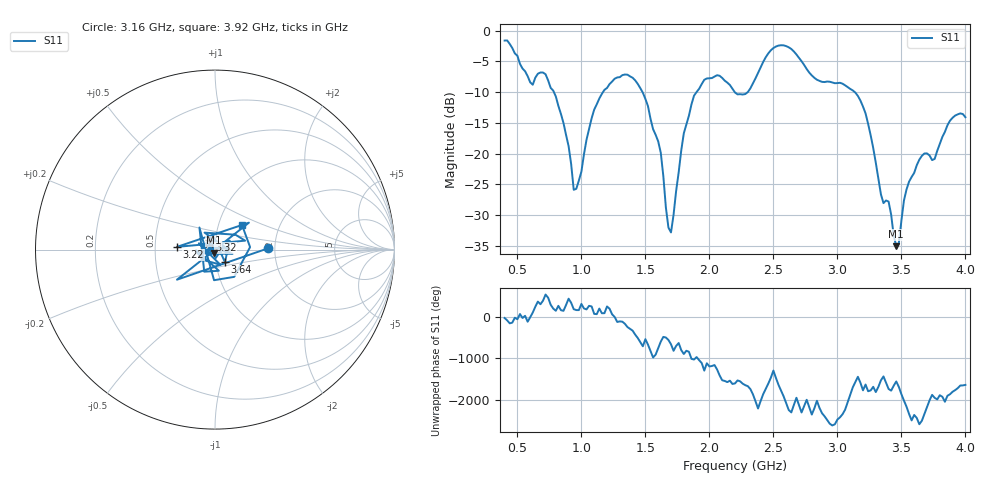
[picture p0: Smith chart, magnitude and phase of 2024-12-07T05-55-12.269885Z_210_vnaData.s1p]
!Created with skrf (http://scikit-rf.org).
# Hz S RI R 50.0
!freq ReS11 ImS11
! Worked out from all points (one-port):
!   181 points, 400 MHz to 4 GHz, reference 50 ohm
!   lowest |S11| = -35.0 dB at 3.46 GHz (marker M1), VSWR 1.04, Z = 49.4 - j1.64 ohm
!   |S11| at or under -10 dB: 785.5 MHz to 1.168 GHz (382.6 MHz wide, 39.2 % of centre); 1.478 GHz to 1.899 GHz (421 MHz wide, 24.9 % of centre); 3.137 GHz to end of sweep (the widest 3 of 4)
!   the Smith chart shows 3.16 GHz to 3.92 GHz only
!   S11 on the Smith chart (normalised r, x): 3.16 GHz: 1.84, +0.03; 3.22 GHz: 0.65, +0.02; 3.32 GHz: 0.93, +0.10; 3.64 GHz: 1.11, -0.16; 3.92 GHz: 1.29, +0.37
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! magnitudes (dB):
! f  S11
! 400 MHz  -1.6
! 620 MHz  -8.8
! 720 MHz  -7.1
! 860 MHz  -15.0
! 960 MHz  -25.7
! 1.1 GHz  -12.8
! 1.3 GHz  -7.6
! 1.52 GHz  -12.3
! 1.62 GHz  -19.8
! 1.68 GHz  -32.0
! 1.7 GHz  -32.8
! 1.76 GHz  -23.0
! 1.86 GHz  -12.0
! 1.96 GHz  -8.0
! 2.2 GHz  -10.0
! 2.5 GHz  -2.8
! 2.66 GHz  -3.4
! 3.1 GHz  -9.5
! 3.16 GHz  -10.6
! 3.22 GHz  -13.4
! 3.32 GHz  -24.0
! 3.4 GHz  -27.8
! 3.46 GHz  -35.0
! 3.56 GHz  -24.5
! 3.64 GHz  -21.0
! 3.76 GHz  -20.8
! 3.92 GHz  -13.8
! 4 GHz  -14.1
